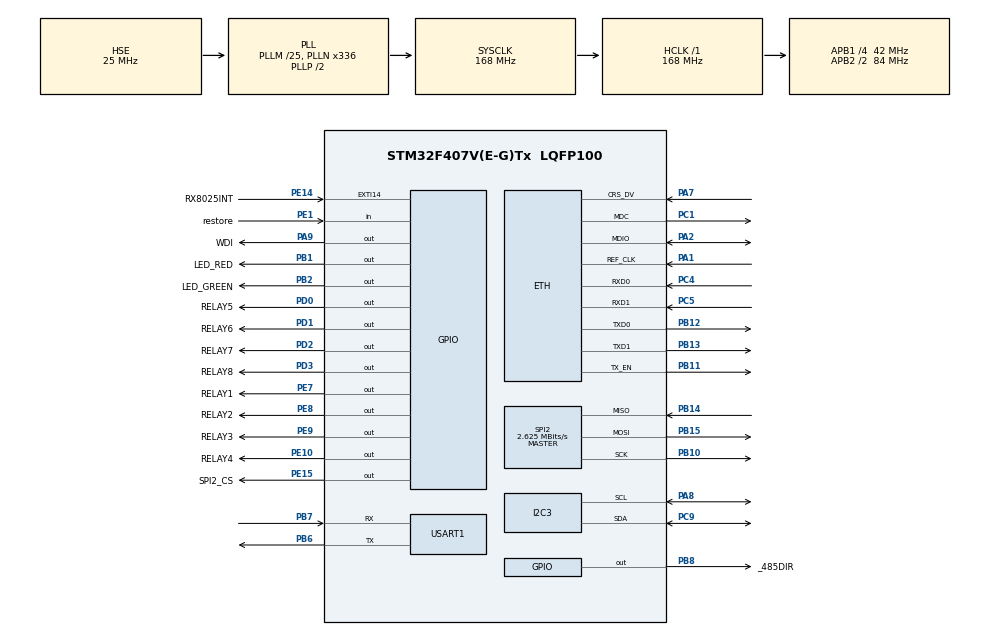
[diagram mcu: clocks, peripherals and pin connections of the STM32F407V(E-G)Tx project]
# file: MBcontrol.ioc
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Dma.I2C3_RX.3.Direction=DMA_PERIPH_TO_MEMORY
Dma.I2C3_RX.3.FIFOMode=DMA_FIFOMODE_DISABLE
Dma.I2C3_RX.3.Instance=DMA1_Stream2
Dma.I2C3_RX.3.MemDataAlignment=DMA_MDATAALIGN_BYTE
Dma.I2C3_RX.3.MemInc=DMA_MINC_ENABLE
Dma.I2C3_RX.3.Mode=DMA_NORMAL
Dma.I2C3_RX.3.PeriphDataAlignment=DMA_PDATAALIGN_BYTE
Dma.I2C3_RX.3.PeriphInc=DMA_PINC_DISABLE
Dma.I2C3_RX.3.Priority=DMA_PRIORITY_LOW
Dma.I2C3_TX.2.Direction=DMA_MEMORY_TO_PERIPH
Dma.I2C3_TX.2.FIFOMode=DMA_FIFOMODE_DISABLE
Dma.I2C3_TX.2.Instance=DMA1_Stream4
Dma.I2C3_TX.2.MemDataAlignment=DMA_MDATAALIGN_BYTE
Dma.I2C3_TX.2.MemInc=DMA_MINC_ENABLE
Dma.I2C3_TX.2.Mode=DMA_NORMAL
Dma.I2C3_TX.2.PeriphDataAlignment=DMA_PDATAALIGN_BYTE
Dma.I2C3_TX.2.PeriphInc=DMA_PINC_DISABLE
Dma.I2C3_TX.2.Priority=DMA_PRIORITY_LOW
Dma.Request0=USART1_RX
Dma.Request1=USART1_TX
Dma.Request2=I2C3_TX
Dma.Request3=I2C3_RX
Dma.USART1_RX.0.Direction=DMA_PERIPH_TO_MEMORY
Dma.USART1_RX.0.FIFOMode=DMA_FIFOMODE_DISABLE
Dma.USART1_RX.0.Instance=DMA2_Stream2
Dma.USART1_RX.0.MemDataAlignment=DMA_MDATAALIGN_BYTE
Dma.USART1_RX.0.MemInc=DMA_MINC_ENABLE
Dma.USART1_RX.0.Mode=DMA_NORMAL
Dma.USART1_RX.0.PeriphDataAlignment=DMA_PDATAALIGN_BYTE
Dma.USART1_RX.0.PeriphInc=DMA_PINC_DISABLE
Dma.USART1_RX.0.Priority=DMA_PRIORITY_LOW
Dma.USART1_TX.1.Direction=DMA_MEMORY_TO_PERIPH
Dma.USART1_TX.1.FIFOMode=DMA_FIFOMODE_DISABLE
Dma.USART1_TX.1.Instance=DMA2_Stream7
Dma.USART1_TX.1.MemDataAlignment=DMA_MDATAALIGN_BYTE
Dma.USART1_TX.1.MemInc=DMA_MINC_ENABLE
Dma.USART1_TX.1.Mode=DMA_NORMAL
Dma.USART1_TX.1.PeriphDataAlignment=DMA_PDATAALIGN_BYTE
Dma.USART1_TX.1.PeriphInc=DMA_PINC_DISABLE
Dma.USART1_TX.1.Priority=DMA_PRIORITY_LOW
ETH.MediaInterface=ETH_MEDIA_INTERFACE_RMII
ETH.PhyAddress=0
FREERTOS.BinarySemaphores01=TIMEBinarySem,Dynamic,NULL
FREERTOS.INCLUDE_vTaskDelayUntil=1
FREERTOS.Mutexes01=MBholdingMutex,Dynamic,NULL
FREERTOS.Queues01=recvQueue,5,uint16_t,0,Dynamic,NULL,NULL;MBQueue,16,uint16_t,0,Dynamic,NULL,NULL;timeQueue,1,uint16_t,0,Dynamic,NULL,NULL
FREERTOS.Tasks01=defaultTask,2,128,StartDefaultTask,Default,NULL,Dynamic,NULL,NULL;mainMB_TASK,1,512,vMBServerTask,Default,NULL,Dynamic,NULL,NULL;monitorTask,-1,128,monitor,Default,NULL,Dynamic,NULL,NULL;uMBpoll_task,0,512,uMBpoll,Default,NULL,Dynamic,NULL,NULL;periodTask,0,256,period,Default,NULL,Dynamic,NULL,NULL;mqtt_Task,1,640,mqtt_clien,Default,NULL,Dynamic,NULL,NULL;socketTask,1,512,socket_sever,Default,NULL,Dynamic,NULL,NULL
FREERTOS.configTOTAL_HEAP_SIZE=30720
I2C3.I2C_Mode=I2C_Fast
IWDG.Prescaler=IWDG_PRESCALER_64
IWDG.Reload=3000
LWIP.GATEWAY_ADDRESS=192.168.001.001
LWIP.IP_ADDRESS=192.168.001.090
LWIP.LWIP_DBG_MIN_LEVEL=LWIP_DBG_LEVEL_WARNING
LWIP.LWIP_DHCP=0
LWIP.LWIP_DNS=1
LWIP.LWIP_NETIF_LINK_CALLBACK=1
LWIP.LWIP_SOCKET_OFFSET=0
LWIP.MEM_SIZE=3200
LWIP.NETMASK_ADDRESS=255.255.255.000
LWIP.Version=v2.0.3_Cube
Mcu.Family=STM32F4
Mcu.Name=STM32F407V(E-G)Tx
Mcu.Package=LQFP100
NVIC.DMA1_Stream2_IRQn=true\:7\:0\:true\:false\:true\:true\:false
NVIC.DMA1_Stream4_IRQn=true\:7\:0\:true\:false\:true\:true\:false
NVIC.DMA2_Stream2_IRQn=true\:6\:0\:true\:false\:true\:true\:false
NVIC.DMA2_Stream7_IRQn=true\:6\:0\:true\:false\:true\:true\:false
NVIC.ETH_IRQn=true\:5\:0\:false\:false\:true\:true\:false
NVIC.EXTI15_10_IRQn=true\:8\:0\:true\:false\:true\:true\:true
NVIC.PriorityGroup=NVIC_PRIORITYGROUP_4
NVIC.TIM3_IRQn=true\:0\:0\:false\:false\:true\:false\:false
NVIC.TimeBase=TIM3_IRQn
NVIC.TimeBaseIP=TIM3
NVIC.USART1_IRQn=true\:6\:0\:true\:false\:true\:true\:true
PA1.Mode=RMII
PA1.Signal=ETH_REF_CLK
PA2.Mode=RMII
PA2.Signal=ETH_MDIO
PA7.Mode=RMII
PA7.Signal=ETH_CRS_DV
PA8.Mode=I2C
PA8.Signal=I2C3_SCL
PA9.GPIO_Label=WDI
PA9.Signal=GPIO_Output
PB1.GPIO_Label=LED_RED
PB1.Signal=GPIO_Output
PB10.Mode=Full_Duplex_Master
PB10.Signal=SPI2_SCK
PB11.Mode=RMII
PB11.Signal=ETH_TX_EN
PB12.Mode=RMII
PB12.Signal=ETH_TXD0
PB13.Mode=RMII
PB13.Signal=ETH_TXD1
PB14.GPIO_PuPd=GPIO_NOPULL
PB14.Mode=Full_Duplex_Master
PB14.Signal=SPI2_MISO
PB15.Mode=Full_Duplex_Master
PB15.Signal=SPI2_MOSI
PB2.GPIO_Label=LED_GREEN
PB2.GPIO_ModeDefaultOutputPP=GPIO_MODE_OUTPUT_PP
PB2.Signal=GPIO_Output
PB6.Mode=Asynchronous
PB6.Signal=USART1_TX
PB7.Mode=Asynchronous
PB7.Signal=USART1_RX
PB8.GPIO_Label=_485DIR
PB8.GPIO_Speed=GPIO_SPEED_FREQ_HIGH
PB8.Signal=GPIO_Output
PC1.Mode=RMII
PC1.Signal=ETH_MDC
PC4.Mode=RMII
PC4.Signal=ETH_RXD0
PC5.Mode=RMII
PC5.Signal=ETH_RXD1
PC9.Mode=I2C
PC9.Signal=I2C3_SDA
PD0.GPIO_Label=RELAY5
PD0.Signal=GPIO_Output
PD1.GPIO_Label=RELAY6
PD1.Signal=GPIO_Output
PD2.GPIO_Label=RELAY7
PD2.Signal=GPIO_Output
PD3.GPIO_Label=RELAY8
PD3.Signal=GPIO_Output
PE1.GPIO_Label=restore
PE1.Signal=GPIO_Input
PE10.GPIO_Label=RELAY4
PE10.Signal=GPIO_Output
PE14.GPIO_Label=RX8025INT
PE14.GPIO_ModeDefaultEXTI=GPIO_MODE_IT_FALLING
PE14.GPIO_PuPd=GPIO_PULLUP
PE14.Signal=GPXTI14
PE15.GPIO_Label=SPI2_CS
PE15.Signal=GPIO_Output
PE7.GPIO_Label=RELAY1
PE7.Signal=GPIO_Output
PE8.GPIO_Label=RELAY2
PE8.Signal=GPIO_Output
PE9.GPIO_Label=RELAY3
PE9.Signal=GPIO_Output
PH0-OSC_IN.Mode=HSE-External-Oscillator
PH0-OSC_IN.Signal=RCC_OSC_IN
PH1-OSC_OUT.Mode=HSE-External-Oscillator
PH1-OSC_OUT.Signal=RCC_OSC_OUT
ProjectManager.HeapSize=0x800
ProjectManager.StackSize=0x1000
ProjectManager.TargetToolchain=Other Toolchains (GPDSC)
RCC.48MHZClocksFreq_Value=84000000
RCC.AHBFreq_Value=168000000
RCC.APB1CLKDivider=RCC_HCLK_DIV4
RCC.APB1Freq_Value=42000000
RCC.APB1TimFreq_Value=84000000
RCC.APB2CLKDivider=RCC_HCLK_DIV2
RCC.APB2Freq_Value=84000000
RCC.APB2TimFreq_Value=168000000
RCC.CortexFreq_Value=168000000
RCC.HCLKFreq_Value=168000000
RCC.HSE_VALUE=25000000
RCC.HSI_VALUE=16000000
RCC.LSE_VALUE=32768
RCC.PLLM=25
RCC.PLLN=336
RCC.PLLSourceVirtual=RCC_PLLSOURCE_HSE
RCC.SYSCLKFreq_VALUE=168000000
RCC.SYSCLKSource=RCC_SYSCLKSOURCE_PLLCLK
RCC.VCOOutputFreq_Value=336000000
SPI2.BaudRatePrescaler=SPI_BAUDRATEPRESCALER_16
SPI2.CLKPhase=SPI_PHASE_2EDGE
SPI2.CLKPolarity=SPI_POLARITY_LOW
SPI2.CalculateBaudRate=2.625 MBits/s
SPI2.DataSize=SPI_DATASIZE_16BIT
SPI2.Direction=SPI_DIRECTION_2LINES
SPI2.FirstBit=SPI_FIRSTBIT_MSB
SPI2.Mode=SPI_MODE_MASTER
SPI2.VirtualType=VM_MASTER
USART1.VirtualMode=VM_ASYNC
VP_CRC_VS_CRC.Mode=CRC_Activate
VP_FREERTOS_VS_ENABLE.Mode=Enabled
VP_IWDG_VS_IWDG.Mode=IWDG_Activate
VP_LWIP_VS_Enabled.Mode=Enabled
VP_SYS_VS_tim3.Mode=TIM3
board=MBcontrol

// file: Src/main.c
/**
  ******************************************************************************
  * @file           : main.c
  * @brief          : Main program body
  ******************************************************************************
  * This notice applies to any and all portions of this file
  * that are not between comment pairs USER CODE BEGIN and
  * USER CODE END. Other portions of this file, whether
  * inserted by the user or by software development tools
  * are owned by their respective copyright owners.
  *
  * Copyright (c) 2018 STMicroelectronics International N.V.
  * All rights reserved.
  *
  * Redistribution and use in source and binary forms, with or without
  * modification, are permitted, provided that the following conditions are met:
  *
  * 1. Redistribution of source code must retain the above copyright notice,
  *    this list of conditions and the following disclaimer.
  * 2. Redistributions in binary form must reproduce the above copyright notice,
  *    this list of conditions and the following disclaimer in the documentation
  *    and/or other materials provided with the distribution.
  * 3. Neither the name of STMicroelectronics nor the names of other
  *    contributors to this software may be used to endorse or promote products
  *    derived from this software without specific written permission.
  * 4. This software, including modifications and/or derivative works of this
  *    software, must execute solely and exclusively on microcontroller or
  *    microprocessor devices manufactured by or for STMicroelectronics.
  * 5. Redistribution and use of this software other than as permitted under
  *    this license is void and will automatically terminate your rights under
  *    this license.
  *
  * THIS SOFTWARE IS PROVIDED BY STMICROELECTRONICS AND CONTRIBUTORS "AS IS"
  * AND ANY EXPRESS, IMPLIED OR STATUTORY WARRANTIES, INCLUDING, BUT NOT
  * LIMITED TO, THE IMPLIED WARRANTIES OF MERCHANTABILITY, FITNESS FOR A
  * PARTICULAR PURPOSE AND NON-INFRINGEMENT OF THIRD PARTY INTELLECTUAL PROPERTY
  * RIGHTS ARE DISCLAIMED TO THE FULLEST EXTENT PERMITTED BY LAW. IN NO EVENT
  * SHALL STMICROELECTRONICS OR CONTRIBUTORS BE LIABLE FOR ANY DIRECT, INDIRECT,
  * INCIDENTAL, SPECIAL, EXEMPLARY, OR CONSEQUENTIAL DAMAGES (INCLUDING, BUT NOT
  * LIMITED TO, PROCUREMENT OF SUBSTITUTE GOODS OR SERVICES; LOSS OF USE, DATA,
  * OR PROFITS; OR BUSINESS INTERRUPTION) HOWEVER CAUSED AND ON ANY THEORY OF
  * LIABILITY, WHETHER IN CONTRACT, STRICT LIABILITY, OR TORT (INCLUDING
  * NEGLIGENCE OR OTHERWISE) ARISING IN ANY WAY OUT OF THE USE OF THIS SOFTWARE,
  * EVEN IF ADVISED OF THE POSSIBILITY OF SUCH DAMAGE.
  *
  ******************************************************************************
  */
#include "main.h"
#include "stm32f4xx_hal.h"
#include "cmsis_os.h"
#include "crc.h"
#include "dma.h"
#include "i2c.h"
#include "iwdg.h"
#include "lwip.h"
#include "spi.h"
#include "usart.h"
#include "gpio.h"

/* USER CODE BEGIN PV */
/* Private variables ---------------------------------------------------------*/

/* USER CODE END PV */

void SystemClock_Config(void);
void MX_FREERTOS_Init(void);

/* USER CODE BEGIN PFP */
/* Private function prototypes -----------------------------------------------*/
/* Private function prototypes -----------------------------------------------*/
#ifdef __GNUC__
/* With GCC, small printf (option LD Linker->Libraries->Small printf
   set to 'Yes') calls __io_putchar() */
#define PUTCHAR_PROTOTYPE int __io_putchar(int ch)
#else
#define PUTCHAR_PROTOTYPE int fputc(int ch, FILE *f)
#endif /* __GNUC__ */
/* USER CODE END PFP */

/* USER CODE BEGIN 0 */
uint8_t aRxBuffer[32] =  { 0};
/* USER CODE END 0 */

int main(void)
{

  /* MCU Configuration----------------------------------------------------------*/

  /* Reset of all peripherals, Initializes the Flash interface and the Systick. */
  HAL_Init();

  /* Configure the system clock */
  SystemClock_Config();

  /* USER CODE BEGIN SysInit */
//	HAL_Delay(1000);
	HAL_Delay(1000);
  /* USER CODE END SysInit */

  /* Initialize all configured peripherals */
  MX_GPIO_Init();
  MX_DMA_Init();
  MX_USART1_UART_Init();
  MX_CRC_Init();
  MX_I2C3_Init();
  MX_IWDG_Init();
  MX_SPI2_Init();
  /* USER CODE BEGIN 2 */
	HAL_GPIO_TogglePin(WDI_GPIO_Port, WDI_Pin);
//	HAL_Delay(1000);
//	if (HAL_UART_Receive_IT(&huart1, (uint8_t *)aRxBuffer, 32) != HAL_OK)
//	{
//		/* Turn LED3 on: Transfer error in reception process */
//		//_Error_Handler();
//
//	}
//	HAL_TIM_PWM_Start(&htim4, TIM_CHANNEL_4);
////	HAL_TIM_PWM_Start(&htim1, TIM_CHANNEL_3);
////	HAL_TIM_PWM_Start(&htim1, TIM_CHANNEL_4);
//	HAL_TIM_PWM_Start(&htim1, TIM_CHANNEL_1);
////	HAL_Delay(2000);
  /* USER CODE END 2 */

  /* Call init function for freertos objects (in freertos.c) */
  MX_FREERTOS_Init();

  /* Start scheduler */
  osKernelStart();

  /* We should never get here as control is now taken by the scheduler */

  /* Infinite loop */
  while (1)
  {

  }

}

void SystemClock_Config(void)
{

  RCC_OscInitTypeDef RCC_OscInitStruct;
  RCC_ClkInitTypeDef RCC_ClkInitStruct;

    /**Configure the main internal regulator output voltage
    */
  __HAL_RCC_PWR_CLK_ENABLE();

  __HAL_PWR_VOLTAGESCALING_CONFIG(PWR_REGULATOR_VOLTAGE_SCALE1);

    /**Initializes the CPU, AHB and APB busses clocks
    */
  RCC_OscInitStruct.OscillatorType = RCC_OSCILLATORTYPE_LSI|RCC_OSCILLATORTYPE_HSE;
  RCC_OscInitStruct.HSEState = RCC_HSE_ON;
  RCC_OscInitStruct.LSIState = RCC_LSI_ON;
  RCC_OscInitStruct.PLL.PLLState = RCC_PLL_ON;
  RCC_OscInitStruct.PLL.PLLSource = RCC_PLLSOURCE_HSE;
  RCC_OscInitStruct.PLL.PLLM = 25;
  RCC_OscInitStruct.PLL.PLLN = 336;
  RCC_OscInitStruct.PLL.PLLP = RCC_PLLP_DIV2;
  RCC_OscInitStruct.PLL.PLLQ = 4;
  if (HAL_RCC_OscConfig(&RCC_OscInitStruct) != HAL_OK)
  {
    _Error_Handler(__FILE__, __LINE__);
  }

    /**Initializes the CPU, AHB and APB busses clocks
    */
  RCC_ClkInitStruct.ClockType = RCC_CLOCKTYPE_HCLK|RCC_CLOCKTYPE_SYSCLK
                              |RCC_CLOCKTYPE_PCLK1|RCC_CLOCKTYPE_PCLK2;
  RCC_ClkInitStruct.SYSCLKSource = RCC_SYSCLKSOURCE_PLLCLK;
  RCC_ClkInitStruct.AHBCLKDivider = RCC_SYSCLK_DIV1;
  RCC_ClkInitStruct.APB1CLKDivider = RCC_HCLK_DIV4;
  RCC_ClkInitStruct.APB2CLKDivider = RCC_HCLK_DIV2;

  if (HAL_RCC_ClockConfig(&RCC_ClkInitStruct, FLASH_LATENCY_5) != HAL_OK)
  {
    _Error_Handler(__FILE__, __LINE__);
  }

    /**Configure the Systick interrupt time
    */
  HAL_SYSTICK_Config(HAL_RCC_GetHCLKFreq()/1000);

    /**Configure the Systick
    */
  HAL_SYSTICK_CLKSourceConfig(SYSTICK_CLKSOURCE_HCLK);

  /* SysTick_IRQn interrupt configuration */
  HAL_NVIC_SetPriority(SysTick_IRQn, 15, 0);
}

/* USER CODE BEGIN 4 */
/**
  * @brief  Retargets the C library printf function to the USART.
  * @param  None
  * @retval None
  */
PUTCHAR_PROTOTYPE
{
	/* Place your implementation of fputc here */
	/* e.g. write a character to the USART3 and Loop until the end of transmission */
///*	HAL_GPIO_WritePin(_485DIR_GPIO_Port, _485DIR_Pin, GPIO_PIN_SET);
//	while (HAL_UART_GetState(&huart1) != HAL_UART_STATE_READY)
//	{
//	}
//	HAL_UART_Transmit_DMA(&huart1, (uint8_t *)&ch, 1);
//	HAL_GPIO_W*/ritePin(_485DIR_GPIO_Port, _485DIR_Pin, GPIO_PIN_RESET);

	return ch;
}
//void HAL_UART_RxCpltCallback(UART_HandleTypeDef *UartHandle)
//{
//	printf("callback");
//	/* Turn LED2 on: Transfer in reception process is correct */
//	if (HAL_UART_Receive_IT(&huart1, (uint8_t *)aRxBuffer, 32) != HAL_OK)
//	{
//		/* Turn LED3 on: Transfer error in reception process */
//		//_Error_Handler();
//
//	}
//
//}
/* USER CODE END 4 */

void HAL_TIM_PeriodElapsedCallback(TIM_HandleTypeDef *htim)
{
  if (htim->Instance == TIM3) {
    HAL_IncTick();
  }
}

void _Error_Handler(char *file, int line)
{
  /* USER CODE BEGIN Error_Handler_Debug */
  /* User can add his own implementation to report the HAL error return state */
  while(1)
  {
	  HAL_Delay(40);
	  HAL_GPIO_TogglePin(LED_RED_GPIO_Port, LED_RED_Pin);
  }
  /* USER CODE END Error_Handler_Debug */
}

/************************ (C) COPYRIGHT STMicroelectronics *****END OF FILE****/

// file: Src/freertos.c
/**
  ******************************************************************************
  * File Name          : freertos.c
  * Description        : Code for freertos applications
  ******************************************************************************
  * This notice applies to any and all portions of this file
  * that are not between comment pairs USER CODE BEGIN and
  * USER CODE END. Other portions of this file, whether
  * inserted by the user or by software development tools
  * are owned by their respective copyright owners.
  *
  * Copyright (c) 2018 STMicroelectronics International N.V.
  * All rights reserved.
  *
  * Redistribution and use in source and binary forms, with or without
  * modification, are permitted, provided that the following conditions are met:
  *
  * 1. Redistribution of source code must retain the above copyright notice,
  *    this list of conditions and the following disclaimer.
  * 2. Redistributions in binary form must reproduce the above copyright notice,
  *    this list of conditions and the following disclaimer in the documentation
  *    and/or other materials provided with the distribution.
  * 3. Neither the name of STMicroelectronics nor the names of other
  *    contributors to this software may be used to endorse or promote products
  *    derived from this software without specific written permission.
  * 4. This software, including modifications and/or derivative works of this
  *    software, must execute solely and exclusively on microcontroller or
  *    microprocessor devices manufactured by or for STMicroelectronics.
  * 5. Redistribution and use of this software other than as permitted under
  *    this license is void and will automatically terminate your rights under
  *    this license.
  *
  * THIS SOFTWARE IS PROVIDED BY STMICROELECTRONICS AND CONTRIBUTORS "AS IS"
  * AND ANY EXPRESS, IMPLIED OR STATUTORY WARRANTIES, INCLUDING, BUT NOT
  * LIMITED TO, THE IMPLIED WARRANTIES OF MERCHANTABILITY, FITNESS FOR A
  * PARTICULAR PURPOSE AND NON-INFRINGEMENT OF THIRD PARTY INTELLECTUAL PROPERTY
  * RIGHTS ARE DISCLAIMED TO THE FULLEST EXTENT PERMITTED BY LAW. IN NO EVENT
  * SHALL STMICROELECTRONICS OR CONTRIBUTORS BE LIABLE FOR ANY DIRECT, INDIRECT,
  * INCIDENTAL, SPECIAL, EXEMPLARY, OR CONSEQUENTIAL DAMAGES (INCLUDING, BUT NOT
  * LIMITED TO, PROCUREMENT OF SUBSTITUTE GOODS OR SERVICES; LOSS OF USE, DATA,
  * OR PROFITS; OR BUSINESS INTERRUPTION) HOWEVER CAUSED AND ON ANY THEORY OF
  * LIABILITY, WHETHER IN CONTRACT, STRICT LIABILITY, OR TORT (INCLUDING
  * NEGLIGENCE OR OTHERWISE) ARISING IN ANY WAY OUT OF THE USE OF THIS SOFTWARE,
  * EVEN IF ADVISED OF THE POSSIBILITY OF SUCH DAMAGE.
  *
  ******************************************************************************
  */

#include "FreeRTOS.h"
#include "task.h"
#include "cmsis_os.h"

/* USER CODE BEGIN Includes */

/* ------------------------ LWIP includes --------------------------------- */
#include "lwip/api.h"
#include "lwip/tcpip.h"
#include "lwip/memp.h"
#include "lwip/sockets.h"
#include "lwip/netdb.h"
#include "lwip.h"
#include "netif/ethernet.h"
#include "lwip/apps/mqtt.h"
/* ------------------------ FreeModbus includes --------------------------- */
#include "mb.h"
#include "iwdg.h"
/* ------------------------ Project includes ------------------------------ */
#include "stm32f4xx_nucleo_144.h"
#include "usart.h"
#include "gpio.h"
#include "iwdg.h"
#include "DAC.h"
#include "R8025t.h"
#include "Relay.h"
#include "ADS1230.h"
#include "recod.h"
#include <memory.h>
#include "crc.h"
#include "eeprom.h"
#include "cat1023.h"
#include "mbcrc.h"
#include "mymqtt.h"

#include "MQTTClient.h"
/* USER CODE END Includes */

osThreadId defaultTaskHandle;
osThreadId mainMB_TASKHandle;
osThreadId monitorTaskHandle;
osThreadId uMBpoll_taskHandle;
osThreadId periodTaskHandle;
osThreadId mqtt_TaskHandle;
osThreadId socketTaskHandle;
osMessageQId recvQueueHandle;
osMessageQId MBQueueHandle;
osMessageQId timeQueueHandle;
osMutexId MBholdingMutexHandle;
osSemaphoreId TIMEBinarySemHandle;

/* USER CODE BEGIN Variables */

//#define mainMB_TASK_PRIORITY    ( tskIDLE_PRIORITY + 3 )
#define PROG "FreeModbus"
#define REG_INPUT_START 1000
#define REG_INPUT_NREGS 4
#define REG_HOLDING_START 1
#define REG_HOLDING_NREGS 130

//#define MQTT_TASK 1
/* ----------------------- Static variables ---------------------------------*/

//struct netif gnetif; /* network interface structure */

static USHORT usRegInputStart = REG_INPUT_START;
static USHORT usRegInputBuf[REG_INPUT_NREGS];
static USHORT usRegHoldingStart = REG_HOLDING_START;
static USHORT usRegHoldingBuf[REG_HOLDING_NREGS];
/* USER CODE END Variables */

void StartDefaultTask(void const * argument);
void vMBServerTask(void const * argument);
void monitor(void const * argument);
void uMBpoll(void const * argument);
void period(void const * argument);
void mqtt_clien(void const * argument);
void socket_sever(void const * argument);
void restore(void);
void MX_FREERTOS_Init(void); /* (MISRA C 2004 rule 8.1) */

/* USER CODE BEGIN FunctionPrototypes */
extern STDATETIME stDateTime;
uint8_t User_notification(struct netif *netif);
//int NetworkConnect(Network *n, char *addr, char *port);
//int FreeRTOS_read(Network *, unsigned char *, int, int);
//int FreeRTOS_write(Network *, unsigned char *, int, int);
//void FreeRTOS_disconnect(Network *);
int server_read(int newconn, unsigned char *buffer, int len, int timeout_ms);
void rede_adc();
void tcp_server(int conn);
void messageArrived(MessageData* data);
/* USER CODE END FunctionPrototypes */

/* Hook prototypes */

/* Init FreeRTOS */

void MX_FREERTOS_Init(void) {

  /* Create the mutex(es) */
  /* definition and creation of MBholdingMutex */
  osMutexDef(MBholdingMutex);
  MBholdingMutexHandle = osMutexCreate(osMutex(MBholdingMutex));

  /* Create the semaphores(s) */
  /* definition and creation of TIMEBinarySem */
  osSemaphoreDef(TIMEBinarySem);
  TIMEBinarySemHandle = osSemaphoreCreate(osSemaphore(TIMEBinarySem), 1);

  /* Create the thread(s) */
  /* definition and creation of defaultTask */
  osThreadDef(defaultTask, StartDefaultTask, osPriorityHigh, 0, 128);
  defaultTaskHandle = osThreadCreate(osThread(defaultTask), NULL);

  /* definition and creation of mainMB_TASK */
//  osThreadDef(mainMB_TASK, vMBServerTask, osPriorityAboveNormal, 0, 512);
//  mainMB_TASKHandle = osThreadCreate(osThread(mainMB_TASK), NULL);

  /* definition and creation of monitorTask */
  osThreadDef(monitorTask, monitor, osPriorityBelowNormal, 0, 128);
  monitorTaskHandle = osThreadCreate(osThread(monitorTask), NULL);

  /* definition and creation of uMBpoll_task */
//  osThreadDef(uMBpoll_task, uMBpoll, osPriorityNormal, 0, 512);
//  uMBpoll_taskHandle = osThreadCreate(osThread(uMBpoll_task), NULL);

  /* definition and creation of periodTask */
  osThreadDef(periodTask, period, osPriorityNormal, 0, 256);
  periodTaskHandle = osThreadCreate(osThread(periodTask), NULL);

  /* definition and creation of mqtt_Task */
  osThreadDef(mqtt_Task, mqtt_clien, osPriorityAboveNormal, 0, 640);
  mqtt_TaskHandle = osThreadCreate(osThread(mqtt_Task), NULL);

  /* definition and creation of socketTask */
  osThreadDef(socketTask, socket_sever, osPriorityAboveNormal, 0, 512);
  socketTaskHandle = osThreadCreate(osThread(socketTask), NULL);

  /* Create the queue(s) */
  /* definition and creation of recvQueue */
/* what about the sizeof here??? cd native code */
//  osMessageQDef(recvQueue, 5, uint16_t);
//  recvQueueHandle = osMessageCreate(osMessageQ(recvQueue), NULL);

  /* definition and creation of MBQueue */
/* what about the sizeof here??? cd native code */
  osMessageQDef(MBQueue, 16, uint16_t);
  MBQueueHandle = osMessageCreate(osMessageQ(MBQueue), NULL);

  /* definition and creation of timeQueue */
/* what about the sizeof here??? cd native code */
  osMessageQDef(timeQueue, 1, uint16_t);
  timeQueueHandle = osMessageCreate(osMessageQ(timeQueue), NULL);

  /* USER CODE BEGIN RTOS_QUEUES */
	/* add queues, ... */
	osMessageQDef(recvQueue, 5, sizeof(struct Msg));
	recvQueueHandle = osMessageCreate(osMessageQ(recvQueue), NULL);
  /* USER CODE END RTOS_QUEUES */
}

/* StartDefaultTask function */
void StartDefaultTask(void const * argument)
{

  /* USER CODE BEGIN StartDefaultTask */

//	printf("systeminit...");
	BSP_LED_On(LED_RED);
	EEinit();
	tcpip_init(NULL, NULL);
	HAL_IWDG_Refresh(&hiwdg);
	MX_LWIP_Init();
	HAL_IWDG_Refresh(&hiwdg);
	uint16_t Timeout = 4000;
	uint32_t tickstart = 0U;
	tickstart = HAL_GetTick();
	uint32_t phyreg = 0U;

	if (User_notification(&gnetif))
	{
		do
		{
			HAL_ETH_ReadPHYRegister(&heth, PHY_BSR, &phyreg);
			HAL_Delay(100);
			BSP_LED_Toggle(LED_RED);
			//	HAL_GPIO_TogglePin(LED_RED_GPIO_Port, LED_RED_Pin);
			/* Check for the Timeout */
			if ((HAL_GetTick() - tickstart) > Timeout)
			{
				HAL_IWDG_Refresh(&hiwdg);
				/* In case of write timeout */
			}
		} while (((phyreg & PHY_LINKED_STATUS) != PHY_LINKED_STATUS));
		HAL_IWDG_Refresh(&hiwdg);
		MX_LWIP_Init();
	}
	//	taskDISABLE_INTERRUPTS();
	//
	//	I2C_EEPROM_WriteBuffer(EE_timeaddr, a, 5);
	//
	//	I2C_EEPROM_ReadBuffer(EE_timeaddr, eeprombuff, 48);
	//	taskENABLE_INTERRUPTS();
	BSP_LED_Off(LED_RED);
	bsp_init();

	/* definition and creation of socketTask */
	//	  osThreadDef(socketTask, socketsever, osPriorityAboveNormal, 0, 512);
	//	  socketTaskHandle = osThreadCreate(osThread(socketTask), NULL);
	/* Infinite loop */
	for (;;)
	{

		vTaskDelete(NULL);
		osDelay(1);
	}
  /* USER CODE END StartDefaultTask */
}

/* vMBServerTask function */
void vMBServerTask(void const * argument)
{
  /* USER CODE BEGIN vMBServerTask */

	eMBErrorCode xStatus;

	/* Infinite loop */
	for (;;)
	{
		if (eMBTCPInit(MB_TCP_PORT_USE_DEFAULT) != MB_ENOERR)
		{
			//  fprintf(stderr, "%s: can't initialize modbus stack!\r\n", PROG);
		}
		else if (eMBEnable() != MB_ENOERR)
		{
			//  fprintf(stderr, "%s: can't enable modbus stack!\r\n", PROG);
		}
		else
		{
			do
			{
				osDelay(10);
				xSemaphoreTake(MBholdingMutexHandle, (TickType_t)10);
				xStatus = eMBPoll();
			} while (xStatus == MB_ENOERR);
		}
		/* An error occured. Maybe we can restart. */
		(void)eMBDisable();
		(void)eMBClose();
		osDelay(10);
	}
  /* USER CODE END vMBServerTask */
}

/* monitor function */
void monitor(void const * argument)
{
  /* USER CODE BEGIN monitor */
	//	MX_IWDG_Init();
	//
	static portTickType xLastWakeTime;
	const portTickType xFrequency = pdMS_TO_TICKS(4000);

	xLastWakeTime = xTaskGetTickCount();
	/* Infinite loop */
	for (;;)
	{
		//	  HAL_GPIO_TogglePin(WDI_GPIO_Port, WDI_Pin);
		//  HAL_GPIO_TogglePin(LED_GREEN_GPIO_Port, LED_GREEN_Pin);
		//	  rede_adc();

		HAL_IWDG_Refresh(&hiwdg);
		vTaskDelayUntil(&xLastWakeTime, xFrequency);
	}
  /* USER CODE END monitor */
}

/* uMBpoll function */
void uMBpoll(void const * argument)
{
  /* USER CODE BEGIN uMBpoll */
	uint8_t Relay;
	uint8_t DI;
	uint16_t dac;
	/* Infinite loop */
	for (;;)
	{

		if (xSemaphoreTake(MBholdingMutexHandle, (TickType_t)portMAX_DELAY) == pdTRUE)
		{
			/********************************************************************************/
			/*set relay*/
			for (Relay = 0; Relay < 8; Relay++)
			{
				DI = usRegHoldingBuf[Relay];
				relaycontrol(Relay, DI);
			}

			/*set 0-10v */

			dac = usRegHoldingBuf[12];
			dac = dac * 3.055;
			if (dac > 3055)
				dac = 3055;
			spi1_dac_write_chb(dac);
			spi1_dac_write_cha(dac);

			/************************************************/
			xSemaphoreGive(MBholdingMutexHandle);
			osDelay(10);
		}
		osDelay(10);
	}
  /* USER CODE END uMBpoll */
}

/* period function */
void period(void const * argument)
{
  /* USER CODE BEGIN period */
	/* Infinite loop */
	__IO uint32_t usTick;
	STDATETIME time;
	uint8_t time_buf[50];
	uint8_t flage[26];
	uint16_t dac;
	uint8_t modeflage;
	BaseType_t xResult;
	uint8_t restoretime;
	//	const TickType_t xMaxBlockTime = pdMS_TO_TICKS(200); /* 鐠佸墽鐤嗙粵澶婄窡閺冨爼�?? wait_time */

	I2C_EEPROM_ReadBuffer(EE_timeaddr, time_buf, 48);
	//
	I2C_EEPROM_ReadBuffer(EE_timeflageaddr, flage, 24);
	//	for (u_int8_t i = 0; i < 24; i++)
	//	{
	//		printf("dac%2d:%d  ", i, flage[i]);
	//	}
	I2C_EEPROM_ReadBuffer(EE_modeflageaddr, &modeflage, 1);
	//	printf("mode:%d\n", modeflage);
	restoretime = 0;
	for (;;)
	{
		// 信号量获�? 设置阻塞时间 10 ticks
		xResult = xSemaphoreTake(TIMEBinarySemHandle, (TickType_t)portMAX_DELAY);
		if (xResult == pdTRUE)
		{

			//osDelay(10);
			if (HAL_GPIO_ReadPin(restore_GPIO_Port, restore_Pin)==0)
			{
				restoretime++;
				if (restoretime>3)
				{
					restoretime = 0;
					restore();
				}
			}
			else
			{
				restoretime = 0;
			}

			HAL_GPIO_TogglePin(WDI_GPIO_Port, WDI_Pin);
			BSP_LED_Toggle(LED_GREEN);
			UpdateDateTime(&time);
			if (modeflage == 0)
			{
				if (time.minute == 0)
				{
					if (flage[time.hour] == 1)
					{
						dac = (uint16_t)((time_buf[time.hour * 2] << 8) | time_buf[(time.hour * 2) + 1]);

						printf("time:%d dac:%d  \n", time.hour, dac);
						if (dac > 1000)
						{
							dac = 1000;
						}
						dac = dac * 3.055f;
						if (dac > 3055)
							dac = 3055;
						spi1_dac_write_chb(dac);
						spi1_dac_write_cha(dac);
					}
				}
			}

			// DbgLog("ATgprs:%s", gprs_msg->usData);

			//  memset(&rs485_MSG, 0, sizeof(rs485_MSG));
		}
		else
		{
			/* 瓒呮�? */
			//  ErrLog("瓒呮�?");
		}

		//	  sprintf((char *)time_buf,
		//		  "%04d-%02d-%02d %02d:%02d:%02d",
		//		  time.year + 2000,
		//		  time.month,
		//		  time.day,
		//		  time.hour,
		//		  time.minute,
		//		  time.second);
		//
		//	  printf("%s\n", time_buf);
			//  rede_adc();

		osDelay(1);
	}
  /* USER CODE END period */
}

/* mqtt_clien function */
void mqtt_clien(void const * argument)
{

  /* USER CODE BEGIN mqtt_clien */
/* connect to m2m.eclipse.org, subscribe to a topic, send and receive messages regularly every 1 sec */
	MQTTClient client;
	Network network;
	unsigned char sendbuf[80], readbuf[80];
	int rc = 0,
		count = 0;
	MQTTPacket_connectData connectData = MQTTPacket_connectData_initializer;

	argument = 0;
	NetworkInit(&network);
	MQTTClientInit(&client, &network, 30000, sendbuf, sizeof(sendbuf), readbuf, sizeof(readbuf));

//	char* address = "45.40.243.84";
//	char* address = "176.122.166.83";
//	char* address = "66.154.108.162";
	char* address = "192.168.1.113";
//	char* port = "1883";
	if ((rc = NetworkConnect(&network, address, 1883)) != 0)
		printf("Return code from network connect is %d\n", rc);

#if defined(MQTT_TASK)
	if ((rc = MQTTStartTask(&client)) != pdPASS)
		printf("Return code from start tasks is %d\n", rc);
#endif

	connectData.MQTTVersion = 3;
	connectData.clientID.cstring = "mqtt1test";
	connectData.keepAliveInterval = 50;           //seconds
	connectData.cleansession = 1;
//	connectData.username.cstring = "gaohongwei/iot";
	//	connectData.password.cstring = "f+Q9Lp++T5nysNVcLVfOWpIIDVz8MaVm5dyJA8jEXdU=";

	if ((rc = MQTTConnect(&client, &connectData)) != 0)
		printf("Return code from MQTT connect is %d\n", rc);
	else
		printf("MQTT Connected\n");

	if ((rc = MQTTSubscribe(&client, "test", 2, messageArrived)) != 0)
		printf("Return code from MQTT subscribe is %d\n", rc);
  /* Infinite loop */
  for(;;)
  {

	  MQTTMessage message;
	  char payload[30];

	  message.qos = 1;
	  message.retained = 0;
	  message.payload = payload;
	  sprintf(payload, "message number %d", count);
	  message.payloadlen = strlen(payload);

	  //		if ((rc = MQTTPublish(&client, "test1", &message)) != 0)
	  //			printf("Return code from MQTT publish is %d\n", rc);

	  		if((rc = MQTTYield(&client, 1000)) != 0)
	  			printf("Return code from yield is %d\n", rc);

	  osDelay(10);
    osDelay(1000);
  }
  /* USER CODE END mqtt_clien */
}

/* socket_sever function */
void socket_sever(void const * argument)
{
  /* USER CODE BEGIN socket_sever */
	uint32_t phyreg = 0U;
	__IO uint32_t uwCRCValue = 0;
	uint8_t buflen = 32;
	int8_t ret;
	uint8_t  error;
	uint16_t crc;
	unsigned char recv_buffer[buflen];
	int sock, newconn, size;
	struct sockaddr_in address, remotehost;
	int8_t Timeout = 10;
	int32_t tickstart = 0U;
	struct timeval interval;
	interval.tv_sec = 2;
	interval.tv_usec = 0;

	/* create a TCP socket */
	if ((sock = socket(AF_INET, SOCK_STREAM, 0)) < 0)
	{
		printf("can not create socket\r\n");
		osDelay(1);
		//	OSTimeDlyHMSM(0, 0, 1, 0);
//			continue;
	}

	address.sin_family = AF_INET;
	address.sin_port = htons(8088);      // mosbus tcp port
	address.sin_addr.s_addr = INADDR_ANY;

	if (bind(sock, (struct sockaddr *)&address, sizeof(address)) < 0)
	{
		printf("can not bind socket\r\n");
		close(sock);
		osDelay(1);
		//OSTimeDlyHMSM(0, 0, 2, 0);
//		continue;
	}

	/* listen for incoming connections (TCP listen backlog = 1) */
	listen(sock, 1);

	size = sizeof(remotehost);
	/* Infinite loop */
	for (;;)
	{
		newconn = accept(sock, (struct sockaddr *)&remotehost, (socklen_t *)&size);
		if (newconn >= 0)
		{
			printf("connect socket\r\n");
			tcp_server(newconn);
		}
		else
		{
			//close(sock);
			close(newconn);
		}
	}
  /* USER CODE END socket_sever */
}

/* USER CODE BEGIN Application */
void messageArrived(MessageData* data)
{
	printf("Message arrived on topic %.*s: %.*s\n",
		data->topicName->lenstring.len,
		data->topicName->lenstring.data,
		data->message->payloadlen,
		data->message->payload);
}
eMBErrorCode
eMBRegInputCB(UCHAR *pucRegBuffer, USHORT usAddress, USHORT usNRegs)
{
	eMBErrorCode eStatus = MB_ENOERR;
	int iRegIndex;

	if ((usAddress >= REG_INPUT_START) && (usAddress + usNRegs <= REG_INPUT_START + REG_INPUT_NREGS))
	{
		iRegIndex = (int)(usAddress - usRegInputStart);
		while (usNRegs > 0)
		{
			*pucRegBuffer++ = (unsigned char)(usRegInputBuf[iRegIndex] >> 8);
			*pucRegBuffer++ = (unsigned char)(usRegInputBuf[iRegIndex] & 0xFF);
			iRegIndex++;
			usNRegs--;
		}
	}
	else
	{
		eStatus = MB_ENOREG;
	}
	return eStatus;
}

eMBErrorCode
eMBRegHoldingCB(UCHAR *pucRegBuffer, USHORT usAddress, USHORT usNRegs, eMBRegisterMode eMode)
{
	eMBErrorCode eStatus = MB_ENOERR;
	int iRegIndex;

	if ((usAddress >= REG_HOLDING_START) &&
		(usAddress + usNRegs <= REG_HOLDING_START + REG_HOLDING_NREGS))
	{
		iRegIndex = (int)(usAddress - usRegHoldingStart);
		switch (eMode)
		{
			/* Pass current register values to the protocol stack. */
		case MB_REG_READ:
			while (usNRegs > 0)
			{
				*pucRegBuffer++ = (UCHAR)(usRegHoldingBuf[iRegIndex] >> 8);
				*pucRegBuffer++ = (UCHAR)(usRegHoldingBuf[iRegIndex] & 0xFF);
				iRegIndex++;
				usNRegs--;
			}
			break;

			/* Update current register values with new values from the
			 * protocol stack. */
		case MB_REG_WRITE:
			if (usNRegs != 0)
			{

				while (usNRegs > 0)
				{
					usRegHoldingBuf[iRegIndex] = *pucRegBuffer++ << 8;
					usRegHoldingBuf[iRegIndex] |= *pucRegBuffer++;
					iRegIndex++;
					usNRegs--;
				}
				xSemaphoreGive(MBholdingMutexHandle);
			}
		}
	}
	else
	{
		eStatus = MB_ENOREG;
	}
	return eStatus;
}

eMBErrorCode
eMBRegCoilsCB(UCHAR *pucRegBuffer, USHORT usAddress, USHORT usNCoils, eMBRegisterMode eMode)
{
	return MB_ENOREG;
}

eMBErrorCode
eMBRegDiscreteCB(UCHAR *pucRegBuffer, USHORT usAddress, USHORT usNDiscrete)
{
	return MB_ENOREG;
}

uint8_t User_notification(struct netif *netif)
{
	if (netif_is_up(netif))
	{
#ifdef USE_DHCP
		/* Update DHCP state machine */
		DHCP_state = DHCP_START;
#else
		//		uint8_t iptxt[20];
		//		sprintf((char *)iptxt, "%s", ip4addr_ntoa((const ip4_addr_t *)&netif->ip_addr));
		//		printf("Static IP address: %s\n", iptxt);
		return 0;
#endif /* USE_DHCP */
	}
	else
	{
#ifdef USE_DHCP
		/* Update DHCP state machine */
		DHCP_state = DHCP_LINK_DOWN;
#endif /* USE_DHCP */
		printf("The network cable is not connected \n");
		return 1;
	}
}

void rede_adc()
{
	int32_t adctemp;
	//	int32_t adctemp;
	//	InitADline();

	filter(&adctemp);
//	usRegHoldingBuf[11] = adctemp << 16;
//	usRegHoldingBuf[11] |= adctemp;
	printf("adcvule:%d\n", adctemp);
}
void tcp_server(int conn)
{
	int buflen = 128;
	int ret;
	unsigned char recv_buffer[128];
	uint8_t  error, lenth;
	uint16_t crc;
	uint8_t Timeout = 240;
	int32_t tickstart = 0U;
	printf("start modbus tcp\r\n");
//		ret = recv(conn, recv_buffer, buflen,0);
//	while (ret > 0)
//	{
//		ret = read(conn, recv_buffer, buflen);
//		write(conn, recv_buffer, ret);
//		memset(recv_buffer, 0, sizeof(recv_buffer));
//	}

	//ret = server_read(conn, recv_buffer, buflen, 200);
	tickstart = user_GetTick();
	while ((ret = server_read(conn, recv_buffer, buflen, 200)) != 0)
	{
		if (ret>0)
		{
			tickstart = user_GetTick();

			crc = (recv_buffer[(ret - 1)] << 8) | (recv_buffer[(ret - 2)]);

			if (crc != usMBCRC16(recv_buffer, (ret - 2)))
			{
//				close(conn);
				break;
			}
			decoding(recv_buffer, &error,&lenth);
			ret = ret + lenth;
			if (error == 1)
			{
//				close(conn);
				break;
			}
			crc = usMBCRC16(recv_buffer, (ret - 2));
			recv_buffer[(ret - 1)] = crc >> 8;
			recv_buffer[(ret - 2)] = crc & 0xff;
			taskENTER_CRITICAL();
			write(conn, recv_buffer, ret);
			taskEXIT_CRITICAL();
			memset(recv_buffer, 0, sizeof(recv_buffer));
		}
	//	printf("s:%d", ret);
		if ((user_GetTick() - tickstart) > Timeout)
		{
			printf("close:%d\n", conn);
			break;
			/* In case of write timeout */
		}
	}
	//shutdown(conn, SHUT_RD);
	close(conn);
	printf("close modbus tcp\r\n");
}
int server_read(int newconn, unsigned char *buffer, int len, int timeout_ms)
{
	uint8_t myerrno;
	struct timeval interval = { timeout_ms / portTICK_PERIOD_MS / 1000, (timeout_ms % (portTICK_PERIOD_MS * 1000)) * 1000 };
	//	if (interval.tv_sec < 0 || (interval.tv_sec == 0 && interval.tv_usec <= 0))
	//	{
	//		interval.tv_sec = 0;
	//		interval.tv_usec = 1000;
	//	}

	setsockopt(newconn, SOL_SOCKET, SO_RCVTIMEO, (char *)&interval, sizeof(struct timeval));
	//	setsockopt(n->my_socket, SOL_SOCKET, SO_RCVTIMEO, (char *)&xTicksToWait, sizeof( xTicksToWait));
	//	printf("err:%d", eer);
	//	int bytes = 0;
	//	while (bytes < len)
	//	{
	int rc = recv(newconn, buffer, len, 0);
	myerrno = errno;
	if (rc == -1)
	{
	//	printf("servererrno:%d\n", myerrno);
		if (myerrno == EAGAIN || myerrno == EINTR) return -2;
		//	else if (errno == EINTR)return -3 ;
		else if(myerrno > 0)  return 0;    //0闁哄鏅濋崑鐐垫暜閹绢喖妫樻い鎾跺仧�???
		else return - 1;

		//if (errno != ENOTCONN && errno != ECONNRESET)
		//{
		//}
	}
	return rc;
}

void restore(void)
{
	uint8_t zero = 0;
	printf("\nstart restore\n");
	HAL_IWDG_Refresh(&hiwdg);
	HAL_GPIO_TogglePin(WDI_GPIO_Port, WDI_Pin);
	BSP_LED_On(LED_RED);
	BSP_LED_On(LED_GREEN);
	osDelay(500);
	HAL_GPIO_TogglePin(WDI_GPIO_Port, WDI_Pin);
	taskDISABLE_INTERRUPTS();

	I2C_EEPROM_WriteBuffer(EE_ipaddr, &zero, 12);
	osDelay(10);
	I2C_EEPROM_WriteBuffer(EE_timeaddr, &zero, 24);
	osDelay(10);
	I2C_EEPROM_WriteBuffer(EE_timeaddr + 24, &zero, 24);
	osDelay(10);
	HAL_GPIO_TogglePin(WDI_GPIO_Port, WDI_Pin);
	//HAL_IWDG_Refresh(&hiwdg);*/
	I2C_EEPROM_WriteBuffer(EE_timeflageaddr, &zero, 24);
	osDelay(10);
	I2C_EEPROM_WriteBuffer(EE_modeflageaddr, &zero, 10);
	osDelay(10);
	I2C_EEPROM_WriteBuffer(EE_setipflageaddr, &zero, 10);
	taskENABLE_INTERRUPTS();
	osDelay(10);
	printf("restoreok\n");
	printf("reboot\n");
	__set_FAULTMASK(1);
	HAL_NVIC_SystemReset();

}

//int keepalive(Client* c)
//{
//	int rc = FAILURE;
//	static Timer sTmrBack;
//
//	if (c->keepAliveInterval == 0)
//	{
//		rc = OKDONE;
//		goto exit;
//	}
//
//	if (c->ping_outstanding == 1 && expired(&sTmrBack))
//		return -1;		// No PINGRESP received after ping
//
//	rc = OKDONE;
//	if (expired(&c->ping_timer))
//	{
//		if (!c->ping_outstanding)
//		{
//			Timer timer;
//			InitTimer(&timer, 10);
//			countdown_ms(&timer, 1000);
//			int len = MQTTSerialize_pingreq(c->buf, c->buf_size);
//			if (len > 0)
//			{
//				rc = sendPacket(c, len, &timer);
//				if (rc == OKDONE)
//				{
//					c->ping_outstanding = 1;
//					countdown_ms(&sTmrBack, 5000);
//				}
//			}
//		}
//	}
//
////exit:
////	return rc;
//}

/* USER CODE END Application */

/************************ (C) COPYRIGHT STMicroelectronics *****END OF FILE****/
